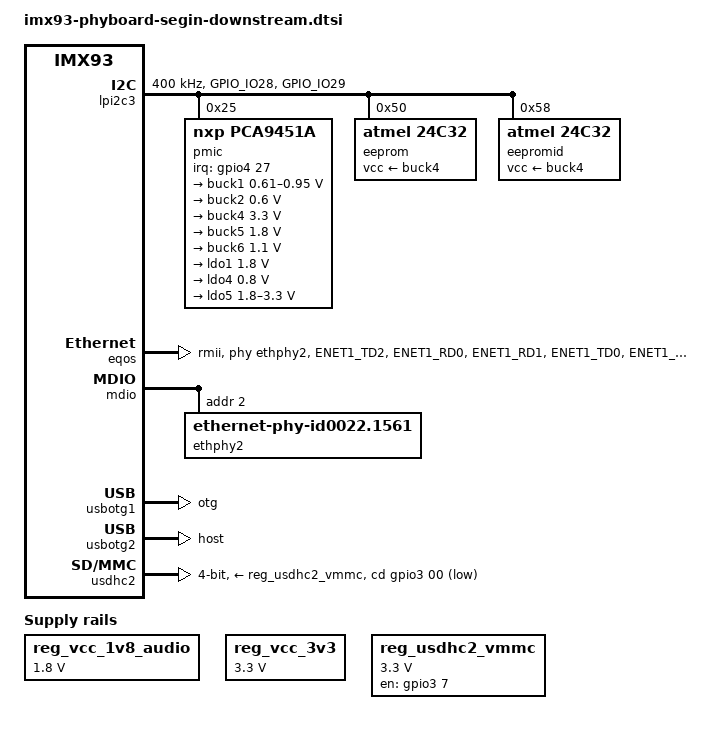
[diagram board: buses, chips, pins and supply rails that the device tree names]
// SPDX-License-Identifier: (GPL-2.0+ OR MIT)
/*
 * Copyright (C) 2023 PHYTEC Messtechnik GmbH
 * Author: Wadim Egorov <w.egorov@phytec.de>, Christoph Stoidner <c.stoidner@phytec.de>
 */

/*
 * Contents of this file are copied from the linux-phytec-imx downstream and
 * can be removed once mainlined.
 */

/ {
	reg_vcc_1v8_audio: regulator-vcc1v8-audio {
		compatible = "regulator-fixed";
		regulator-max-microvolt = <1800000>;
		regulator-min-microvolt = <1800000>;
		regulator-name = "VCC1V8_AUDIO";
	};
	reg_vcc_3v3: regulator-vcc-3v3 {
		compatible = "regulator-fixed";
		regulator-max-microvolt = <3300000>;
		regulator-min-microvolt = <3300000>;
		regulator-name = "VCC3V3";
	};
};

&reg_usdhc2_vmmc {
	compatible = "regulator-fixed";
	gpio = <&gpio3 7 GPIO_ACTIVE_HIGH>;
	enable-active-high;
	pinctrl-names = "default";
	pinctrl-0 = <&pinctrl_reg_usdhc2_vmmc>;
	regulator-max-microvolt = <3300000>;
	regulator-min-microvolt = <3300000>;
	regulator-name = "VCC_SD";
};

/* I2C3 */
&lpi2c3 {
	clock-frequency = <400000>;
	pinctrl-names = "default";
	pinctrl-0 = <&pinctrl_lpi2c3>;
	#address-cells = <1>;
	#size-cells = <0>;
	status = "okay";

	pmic@25 {
		compatible = "nxp,pca9451a";
		reg = <0x25>;
		pinctrl-names = "default";
		pinctrl-0 = <&pinctrl_pmic>;
		interrupt-parent = <&gpio4>;
		interrupts = <27 IRQ_TYPE_LEVEL_LOW>;

		regulators {
			buck1: BUCK1 {
				regulator-name = "VDD_SOC";
				regulator-min-microvolt = <610000>;
				regulator-max-microvolt = <950000>;
				regulator-boot-on;
				regulator-always-on;
				regulator-ramp-delay = <3125>;
			};

			buck2: BUCK2 {
				regulator-name = "VDDQ_0V6";
				regulator-min-microvolt = <600000>;
				regulator-max-microvolt = <600000>;
				regulator-boot-on;
				regulator-always-on;
			};

			buck4: BUCK4 {
				regulator-name = "VDD_3V3_BUCK";
				regulator-min-microvolt = <3300000>;
				regulator-max-microvolt = <3300000>;
				regulator-boot-on;
				regulator-always-on;
			};

			buck5: BUCK5 {
				regulator-name = "VDD_1V8";
				regulator-min-microvolt = <1800000>;
				regulator-max-microvolt = <1800000>;
				regulator-boot-on;
				regulator-always-on;
			};

			buck6: BUCK6 {
				regulator-name = "VDD_1V1";
				regulator-min-microvolt = <1100000>;
				regulator-max-microvolt = <1100000>;
				regulator-boot-on;
				regulator-always-on;
			};

			ldo1: LDO1 {
				regulator-name = "PMIC_SNVS_1V8";
				regulator-min-microvolt = <1800000>;
				regulator-max-microvolt = <1800000>;
				regulator-boot-on;
				regulator-always-on;
			};

			ldo4: LDO4 {
				regulator-name = "VDD_0V8";
				regulator-min-microvolt = <800000>;
				regulator-max-microvolt = <800000>;
				regulator-boot-on;
				regulator-always-on;
			};

			ldo5: LDO5 {
				regulator-name = "NVCC_SD2";
				regulator-min-microvolt = <1800000>;
				regulator-max-microvolt = <3300000>;
				regulator-boot-on;
				regulator-always-on;
			};
		};
	};

	eeprom@50 {
		compatible = "atmel,24c32";
		reg = <0x50>;
		pagesize = <32>;
		vcc-supply = <&buck4>;
	};

	eepromid@58 {
		compatible = "atmel,24c32";
		pagesize = <32>;
		reg = <0x58>;
		size = <32>;
		vcc-supply = <&buck4>;
	};
};

/* Ethernet */
&eqos {
	pinctrl-names = "default";
	pinctrl-0 = <&pinctrl_eqos>;
	phy-mode = "rmii";
	phy-handle = <&ethphy2>;
	assigned-clocks = <&clk IMX93_CLK_ENET_TIMER2>,
			  <&clk IMX93_CLK_ENET>;
	assigned-clock-parents = <&clk IMX93_CLK_SYS_PLL_PFD1_DIV2>,
				 <&clk IMX93_CLK_SYS_PLL_PFD1_DIV2>;
	assigned-clock-rates = <100000000>, <50000000>;
	status = "okay";
};

/* ENET2 MDIO */
&mdio {
	ethphy2: ethernet-phy@2 {
		reg = <2>;
		micrel,led-mode = <1>;
		compatible = "ethernet-phy-id0022.1561";

		/*
		 * HACK:
		 * IMX93_CLK_ENET is the ref clock and should be running at 50Mhz.
		 * Using it here to tell the PHY we are running at 50MHz is not working.
		 * Let us simply use another clock here.
		 */
		/* clocks = <&clk IMX93_CLK_ENET>; */
		clocks = <&clk IMX93_CLK_ENET_REF_PHY>;
		clock-names = "rmii-ref";
	};
};

/* USB  */
&usbotg1 {
	disable-over-current;
	dr_mode = "otg";
	status = "okay";
};

&usbotg2 {
	disable-over-current;
	dr_mode = "host";
	status = "okay";
};

/* SD-Card */
&usdhc2 {
	pinctrl-names = "default", "state_100mhz", "state_200mhz";
	pinctrl-0 = <&pinctrl_usdhc2_default>, <&pinctrl_usdhc2_cd>;
	pinctrl-1 = <&pinctrl_usdhc2_100mhz>, <&pinctrl_usdhc2_cd>;
	pinctrl-2 = <&pinctrl_usdhc2_200mhz>, <&pinctrl_usdhc2_cd>;
	cd-gpios = <&gpio3 00 GPIO_ACTIVE_LOW>;
	vmmc-supply = <&reg_usdhc2_vmmc>;
	bus-width = <4>;
	disable-wp;
	no-sdio;
	no-mmc;
	status = "okay";
};

/* need to config the SION for data and cmd pad, refer to ERR052021 */
&pinctrl_usdhc2_default {
	fsl,pins = <
		MX93_PAD_SD2_CLK__USDHC2_CLK		0x159e
		MX93_PAD_SD2_CMD__USDHC2_CMD		0x4000139e
		MX93_PAD_SD2_DATA0__USDHC2_DATA0	0x4000138e
		MX93_PAD_SD2_DATA1__USDHC2_DATA1	0x4000138e
		MX93_PAD_SD2_DATA2__USDHC2_DATA2	0x4000138e
		MX93_PAD_SD2_DATA3__USDHC2_DATA3	0x4000139e
		MX93_PAD_SD2_VSELECT__USDHC2_VSELECT	0x51e
	>;
};

/* need to config the SION for data and cmd pad, refer to ERR052021 */
&pinctrl_usdhc2_100mhz {
	fsl,pins = <
		MX93_PAD_SD2_CLK__USDHC2_CLK            0x159e
		MX93_PAD_SD2_CMD__USDHC2_CMD            0x4000139e
		MX93_PAD_SD2_DATA0__USDHC2_DATA0        0x4000138e
		MX93_PAD_SD2_DATA1__USDHC2_DATA1        0x4000138e
		MX93_PAD_SD2_DATA2__USDHC2_DATA2        0x4000139e
		MX93_PAD_SD2_DATA3__USDHC2_DATA3        0x4000139e
		MX93_PAD_SD2_VSELECT__USDHC2_VSELECT    0x51e
	>;
};

/* need to config the SION for data and cmd pad, refer to ERR052021 */
&pinctrl_usdhc2_200mhz {
	fsl,pins = <
		MX93_PAD_SD2_CLK__USDHC2_CLK            0x158e
		MX93_PAD_SD2_CMD__USDHC2_CMD            0x4000139e
		MX93_PAD_SD2_DATA0__USDHC2_DATA0        0x4000139e
		MX93_PAD_SD2_DATA1__USDHC2_DATA1        0x4000139e
		MX93_PAD_SD2_DATA2__USDHC2_DATA2        0x4000139e
		MX93_PAD_SD2_DATA3__USDHC2_DATA3        0x4000139e
		MX93_PAD_SD2_VSELECT__USDHC2_VSELECT    0x51e
	>;
};


&iomuxc {
	pinctrl_eqos: eqosgrp {
		fsl,pins = <
			MX93_PAD_ENET1_TD2__CCM_ENET_QOS_CLOCK_GENERATE_REF_CLK 0x4000050e
			MX93_PAD_ENET1_RD0__ENET_QOS_RGMII_RD0			0x57e
			MX93_PAD_ENET1_RD1__ENET_QOS_RGMII_RD1			0x57e
			MX93_PAD_ENET1_TD0__ENET_QOS_RGMII_TD0			0x50e
			MX93_PAD_ENET1_TD1__ENET_QOS_RGMII_TD1			0x50e
			MX93_PAD_ENET1_RX_CTL__ENET_QOS_RGMII_RX_CTL		0x57e
			MX93_PAD_ENET1_TX_CTL__ENET_QOS_RGMII_TX_CTL		0x50e
			MX93_PAD_ENET1_RXC__ENET_QOS_RX_ER			0x57e
		>;
	};
	pinctrl_lpi2c3: lpi2c3grp {
		fsl,pins = <
			MX93_PAD_GPIO_IO28__LPI2C3_SDA			0x40000b9e
			MX93_PAD_GPIO_IO29__LPI2C3_SCL			0x40000b9e
		>;
	};
	pinctrl_pmic: pmicgrp {
		fsl,pins = <
			MX93_PAD_ENET2_RD3__GPIO4_IO27			0x31e
		>;
	};
	pinctrl_rtc: rtcgrp {
		fsl,pins = <
			MX93_PAD_ENET2_RD2__GPIO4_IO26		0x31e
		>;
	};
};
